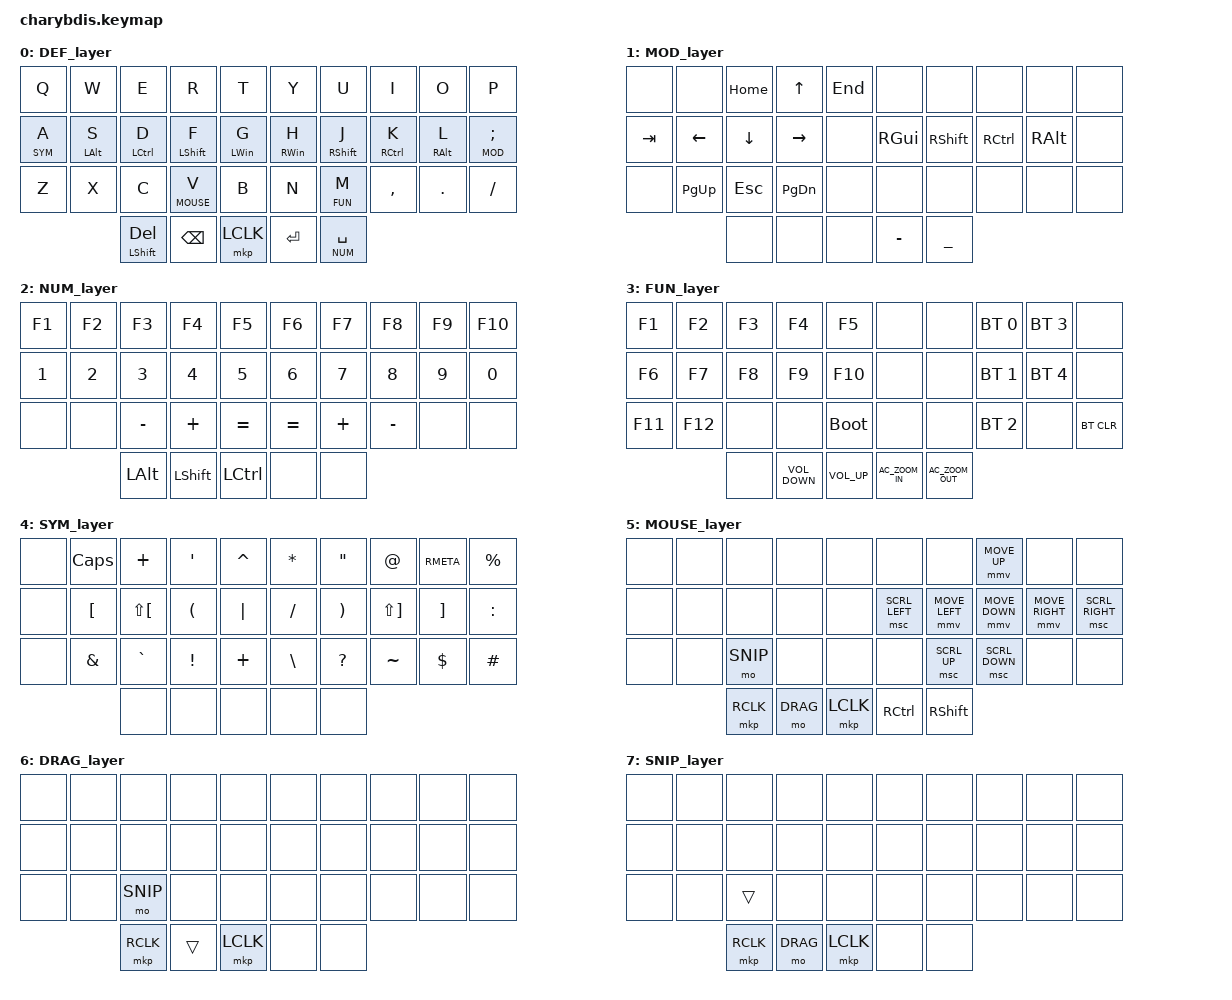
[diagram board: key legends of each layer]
#include <behaviors.dtsi>
#include <dt-bindings/zmk/keys.h>
#include <dt-bindings/zmk/bt.h>
#include <dt-bindings/zmk/ext_power.h>
#include <dt-bindings/zmk/mouse.h>
#include <dt-bindings/zmk/outputs.h>
#include <input/processors.dtsi>
#include <dt-bindings/zmk/input_transform.h>

#define DEF 0
#define MOD 1
#define NUM 2
#define FUN 3
#define SYM 4
#define MOUSE 5
#define DRAG 6
#define SNIP 7
/ {
    trackball_listener {
        compatible = "zmk,input-listener";
        device = <&trackball_split>;
        input-processors = <&zip_xy_transform (INPUT_TRANSFORM_XY_SWAP | INPUT_TRANSFORM_X_INVERT | INPUT_TRANSFORM_Y_INVERT)>, <&zip_xy_scaler 1 6>;

        snipe {
            layers = <SNIP>;
            input-processors = <&zip_xy_transform (INPUT_TRANSFORM_XY_SWAP | INPUT_TRANSFORM_X_INVERT | INPUT_TRANSFORM_Y_INVERT)>, <&zip_xy_scaler 1 16>;
        };

        scroll {
            layers = <DRAG>;
            input-processors = <&zip_xy_transform (INPUT_TRANSFORM_XY_SWAP | INPUT_TRANSFORM_X_INVERT | INPUT_TRANSFORM_Y_INVERT)>, <&zip_xy_scaler 1 16>, <&zip_xy_to_scroll_mapper>, <&zip_scroll_transform (INPUT_TRANSFORM_Y_INVERT)>;
        };
    };

    behaviors {
        hm: homerow_mods {
            compatible = "zmk,behavior-hold-tap";
            #binding-cells = <2>;
            flavor = "tap-preferred";
            tapping-term-ms = <240>;
            quick-tap-ms = <150>;
            bindings =
                <&kp>,
                <&kp>;
        };

        lt: layer_tap {
            compatible = "zmk,behavior-hold-tap";
            #binding-cells = <2>;
            flavor = "balanced";
            tapping-term-ms = <240>;
            quick-tap-ms = <150>;
            bindings = 
                <&mo>,
                <&kp>;
        };
    };

    chosen {
        zmk,matrix_transform = &five_column_transform;
    };

  keymap {
        compatible = "zmk,keymap";

        DEF_layer {
            bindings = <
            &kp Q       &kp W           &kp E                   &kp R             &kp T               &kp Y         &kp U              &kp I        &kp O            &kp P            
            &lt SYM A   &hm LEFT_ALT S  &hm LCTRL D             &hm LEFT_SHIFT F  &hm LWIN G          &hm RWIN H    &hm RIGHT_SHIFT J  &hm RCTRL K  &hm RIGHT_ALT L  &lt MOD SEMICOLON
            &kp Z       &kp X           &kp C                   &lt MOUSE V       &kp B               &kp N         &lt FUN M          &kp COMMA    &kp DOT          &kp SLASH        
                                        &hm LEFT_SHIFT DELETE   &kp BACKSPACE     &mkp LCLK           &kp ENTER     &lt NUM SPACE
            >;
        };

        MOD_layer {
            bindings = <
            &none       &none           &kp HOME     &kp UP_ARROW     &kp END              &none         &none              &none        &none            &none            
            &kp TAB     &kp LEFT_ARROW  &kp DOWN     &kp RIGHT        &none                &kp RIGHT_GUI &kp RSHIFT         &kp RCTRL    &kp RIGHT_ALT    &none            
            &none       &kp PAGE_UP     &kp ESCAPE   &kp PAGE_DOWN    &none                &none         &none              &none        &none            &none            
                                        &none        &none            &none                &kp MINUS     &kp UNDER
            >;
        };

        NUM_layer {
            bindings = <
            &kp F1      &kp F2          &kp F3       &kp F4           &kp F5               &kp F6        &kp F7             &kp F8       &kp F9           &kp F10          
            &kp N1      &kp N2          &kp N3       &kp N4           &kp N5               &kp N6        &kp N7             &kp N8       &kp N9           &kp N0           
            &none       &none           &kp MINUS    &kp PLUS         &kp EQUAL            &kp EQUAL     &kp PLUS           &kp MINUS    &none            &none            
                                        &kp LALT     &kp LSHFT        &kp LCTRL            &none         &none
            >;
        };

        FUN_layer {
            bindings = <
            &kp F1      &kp F2          &kp F3       &kp F4              &kp F5               &none         &none              &bt BT_SEL 0 &bt BT_SEL 3     &none            
            &kp F6      &kp F7          &kp F8       &kp F9              &kp F10              &none         &none              &bt BT_SEL 1 &bt BT_SEL 4     &none            
            &kp F11     &kp F12         &none        &none               &bootloader          &none         &none              &bt BT_SEL 2 &none            &bt BT_CLR       
                                        &none        &kp C_VOLUME_DOWN   &kp C_VOLUME_UP         &kp C_AC_ZOOM_IN &kp C_AC_ZOOM_OUT
            >;
        };

        SYM_layer {
            bindings = <
            &none       &kp CAPS        &kp PLUS     &kp SQT          &kp CARET            &kp ASTRK     &kp DOUBLE_QUOTES  &kp AT       &kp RMETA        &kp PERCENT      
            &none       &kp LEFT_BRACKET &kp LS(LEFT_BRACKET) &kp LEFT_PARENTHESIS &kp PIPE  &kp SLASH     &kp RIGHT_PARENTHESIS &kp LS(RIGHT_BRACKET) &kp RIGHT_BRACKET &kp COLON  
            &none       &kp AMPERSAND   &kp GRAVE    &kp EXCLAMATION  &kp PLUS             &kp BACKSLASH &kp QUESTION       &kp TILDE    &kp DOLLAR       &kp HASH         
                                        &none        &none            &none                &none         &none
            >;
        };

        MOUSE_layer {
            bindings = <
            &none       &none           &none        &none            &none                &none         &none              &mmv MOVE_UP &none            &none            
            &none       &none           &none        &none            &none                &msc SCRL_LEFT &mmv MOVE_LEFT     &mmv MOVE_DOWN &mmv MOVE_RIGHT &msc SCRL_RIGHT  
            &none       &none           &mo SNIP     &none            &none                &none         &msc SCRL_UP       &msc SCRL_DOWN &none          &none            
                                        &mkp RCLK    &mo DRAG         &mkp LCLK            &kp RCTRL     &kp RSHFT
            >;
        };

        DRAG_layer {
            bindings = <
            &none       &none           &none        &none            &none                &none         &none              &none        &none            &none            
            &none       &none           &none        &none            &none                &none         &none              &none        &none            &none            
            &none       &none           &mo SNIP     &none            &none                &none         &none              &none        &none            &none            
                                        &mkp RCLK    &trans           &mkp LCLK            &none         &none
            >;
        };

        SNIP_layer {
            bindings = <
            &none       &none           &none        &none            &none                &none         &none              &none        &none            &none            
            &none       &none           &none        &none            &none                &none         &none              &none        &none            &none            
            &none       &none           &trans       &none            &none                &none         &none              &none        &none            &none            
                                        &mkp RCLK    &mo DRAG         &mkp LCLK            &none         &none
            >;
        };
    };
};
